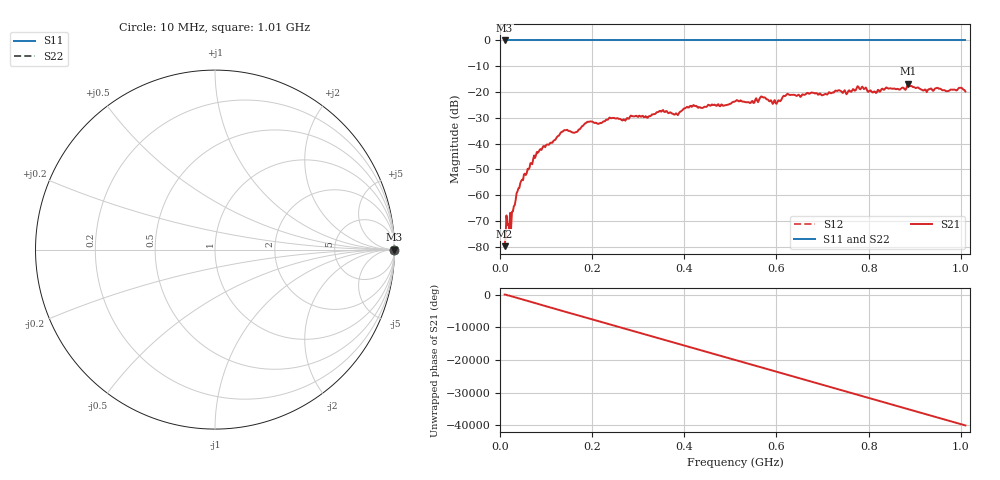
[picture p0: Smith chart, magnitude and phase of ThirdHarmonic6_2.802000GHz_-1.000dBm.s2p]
! 8/17/2025 7:18:37 AM
! C:\ANRITSUVNA\TEMP\TEMP.S2P
! CHANNEL.1
! TR.MEASUREMENT
! RAW.DATA
! RF.CORRECTION.OFF
! AVERAGING.OFF
! IF.BANDWIDTH: 5KHZ
! SWEEPTYPE:  FREQ.SWEEP(Linear)
! Reference Plane Port Info
! PORT:  PORT1  PORT2
! DISTANCE:  0  m  0  m
! TIME:  0  s  0  s
! PHASE.OFFSET:  0  deg.  0  deg.
! LOSS:  0  dB  0  dB
! REF.LOSS:  0  dB  0  dB
! REF.FREQ:  0  Hz  0  Hz
! Power Info
! POWER:  -20  dBm  -20  dBm
! EFF.POWER:  -20  dBm  -20  dBm
! SOURCE.ATTEN:  0  dB  0  dB
! TEST.ATTEN:  0  dB  0  dB
# GHZ S RI R 50.0
! FREQ.GHZ  S11RE  S11IM  S21RE  S21IM  S12RE  S12IM  S22RE  S22IM
!; PortSelection: Port_12
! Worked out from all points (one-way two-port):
!   501 points, 10 MHz to 1.01 GHz, reference 50 ohm
!   highest |S21| = -16.76 dB at 886 MHz (marker M1); lowest = -79.7 dB at 10 MHz (marker M2)
!   lowest |S11| = 0.0 dB at 10 MHz (marker M3)
!   |S11| at or under -10 dB: nowhere
!   |S22| runs from 0.0 to 0.0 dB; largest |S21 - S12| = 1.1
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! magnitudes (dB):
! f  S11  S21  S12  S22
! 10 MHz  0.0  -79.7  0.0  0.0
! 18 MHz  0.0  -71.2  0.0  0.0
! 20 MHz  0.0  -72.9  0.0  0.0
! 28 MHz  0.0  -66.2  0.0  0.0
! 40 MHz  0.0  -57.3  0.0  0.0
! 76 MHz  0.0  -45.5  0.0  0.0
! 136 MHz  0.0  -35.4  0.0  0.0
! 164 MHz  0.0  -35.6  0.0  0.0
! 178 MHz  0.0  -33.2  0.0  0.0
! 194 MHz  0.0  -31.5  0.0  0.0
! 344 MHz  0.0  -27.7  0.0  0.0
! 382 MHz  0.0  -28.2  0.0  0.0
! 416 MHz  0.0  -25.7  0.0  0.0
! 510 MHz  0.0  -23.6  0.0  0.0
! 548 MHz  0.0  -23.4  0.0  0.0
! 570 MHz  0.0  -22.0  0.0  0.0
! 596 MHz  0.0  -23.1  0.0  0.0
! 624 MHz  0.0  -20.7  0.0  0.0
! 678 MHz  0.0  -20.2  0.0  0.0
! 844 MHz  0.0  -18.7  0.0  0.0
! 886 MHz  0.0  -16.8  0.0  0.0
! 1.01 GHz  0.0  -19.8  0.0  0.0
